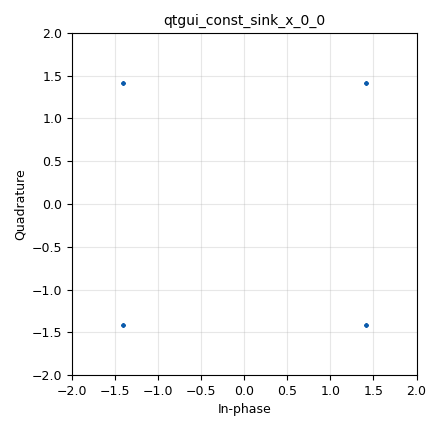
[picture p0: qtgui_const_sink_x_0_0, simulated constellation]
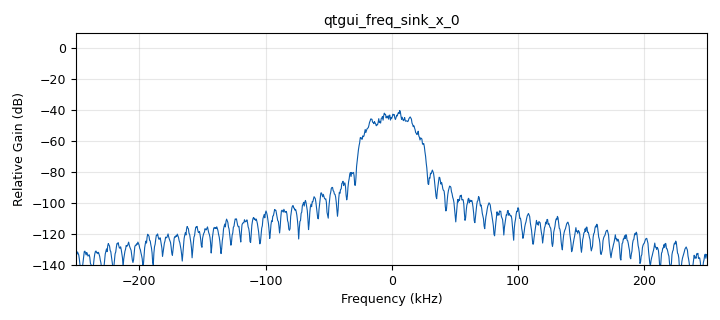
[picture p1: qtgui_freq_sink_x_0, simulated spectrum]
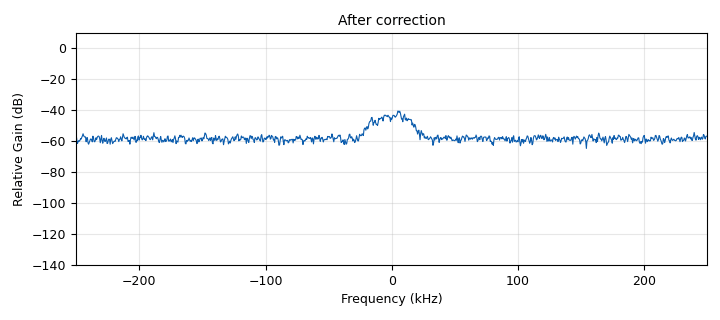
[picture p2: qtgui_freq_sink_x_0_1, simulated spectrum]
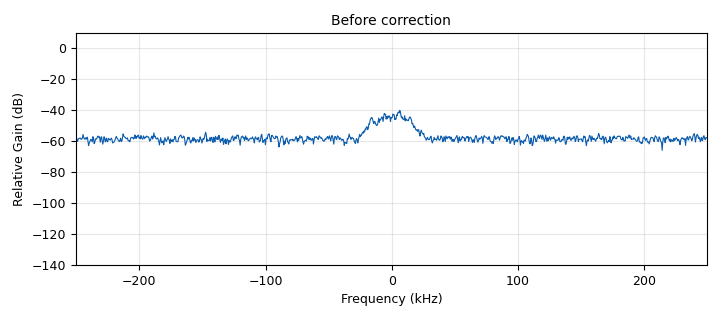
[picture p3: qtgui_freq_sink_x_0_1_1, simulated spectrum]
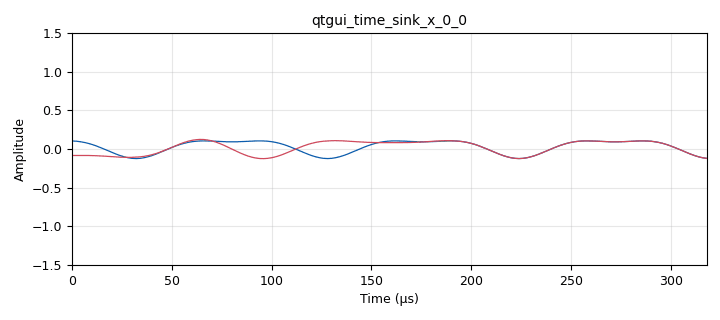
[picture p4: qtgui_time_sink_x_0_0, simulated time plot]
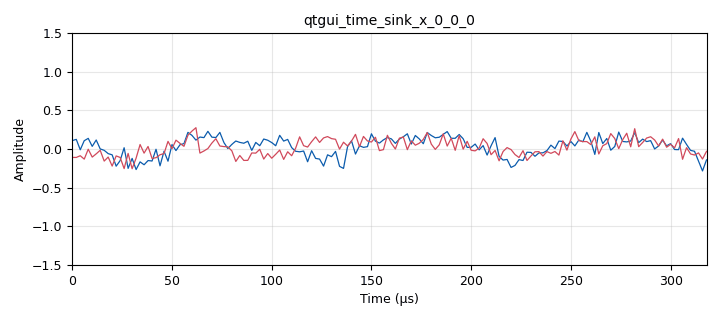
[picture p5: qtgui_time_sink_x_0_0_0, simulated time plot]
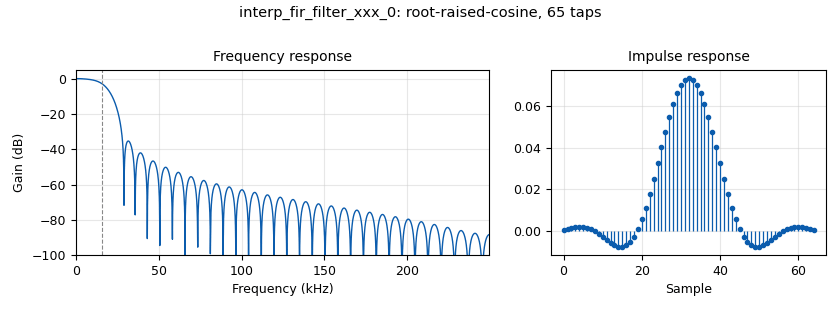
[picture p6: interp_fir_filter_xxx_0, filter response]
options:
  parameters:
    generate_options: qt_gui
    id: transceiver
    output_language: python
    title: Transceiver
  states: {}

blocks:
- name: constellation
  id: variable_constellation
  parameters:
    precision: '8'
    type: dqpsk
  states: {}
- name: frame_len_symbols
  id: variable
  parameters:
    value: int((payload_bytes + 4 + len(preamble_decimal))*8/constellation.bits_per_symbol())
  states: {}
- name: freq_offset_slider
  id: variable_qtgui_range
  parameters:
    gui_hint: 0,1,1,1
    label: frequency offset
    start: '-samp_rate/sps/2'
    step: samp_rate/sps/50
    stop: samp_rate/sps/2
    value: '0'
  states: {}
- name: nfft
  id: variable
  parameters:
    value: int(512)
  states: {}
- name: noise_amplitude_slider
  id: variable_qtgui_range
  parameters:
    gui_hint: 0,3,1,1
    label: noise power
    start: '0'
    step: '0.1'
    stop: '1'
    value: '0.1'
    widget: slider
  states: {}
- name: preamble_binary
  id: variable
  parameters:
    value: '''''.join(["{0:08b}".format(i) for i in preamble_decimal[:4]])'
  states: {}
- name: preamble_decimal
  id: variable
  parameters:
    value: preamble_decimal_prbs
  states: {}
- name: preamble_decimal_prbs
  id: variable
  parameters:
    value: 104, 34, 59, 178, 138, 21, 94, 227, 104, 34, 59, 178, 17, 150, 5, 202, 254, 57, 65, 119, int((payload_bytes+4)/256), (payload_bytes +4) % 256, int((payload_bytes+4)/256), (payload_bytes +4) % 256
  states: {}
- name: preamble_decimal_test
  id: variable
  parameters:
    value: np.random.randint(0, 256, 100)
  states: {}
- name: preamble_symbolindex
  id: variable
  parameters:
    value: '[int(preamble_binary[x:x+constellation.bits_per_symbol()], base=2) for x in range(0, len(preamble_binary), constellation.bits_per_symbol())]'
  states: {}
- name: pulse_shape
  id: variable_rrc_filter_taps
  parameters:
    alpha: rolloff
    gain: '1.0'
    ntaps: 4*sps
    samp_rate: samp_rate
    sym_rate: samp_rate/sps
  states: {}
- name: rolloff
  id: variable
  parameters:
    value: '0.7'
  states: {}
- name: rx_gain_slider
  id: variable_qtgui_range
  parameters:
    gui_hint: 0,2,1,1
    label: RX gain
    start: '0'
    step: '.1'
    stop: '1'
    value: '0.7'
  states: {}
- name: samp_rate
  id: variable
  parameters:
    value: 500e3
  states: {}
- name: tx_gain_slider
  id: variable_qtgui_range
  parameters:
    gui_hint: 0,0,1,1
    label: TX gain
    start: '0'
    step: '0.1'
    stop: '1'
    value: '0.6'
  states: {}
- name: analog_noise_source_x_0
  id: analog_noise_source_x
  parameters:
    amp: noise_amplitude_slider
    noise_type: analog.GR_GAUSSIAN
    seed: '0'
    type: complex
  states: {}
- name: analog_random_source_x_0
  id: analog_random_source_x
  parameters:
    max: '256'
    min: '0'
    num_samps: payload_bytes
    repeat: 'True'
    type: byte
  states: {state: disabled}
- name: analog_sig_source_x_0
  id: analog_sig_source_x
  parameters:
    amp: '1'
    comment: |-
      Artificial frequency offset
      for demonstration purposes
    freq: freq_offset_slider
    offset: '0'
    phase: '0'
    samp_rate: samp_rate
    type: complex
    waveform: analog.GR_COS_WAVE
  states: {}
- name: blocks_add_xx_0
  id: blocks_add_xx
  parameters:
    type: complex
  states: {}
- name: blocks_int_to_float_0
  id: blocks_int_to_float
  parameters:
    scale: '1'
  states: {}
- name: blocks_multiply_xx_0
  id: blocks_multiply_xx
  parameters:
    type: complex
  states: {}
- name: blocks_packed_to_unpacked_xx_0
  id: blocks_packed_to_unpacked_xx
  parameters:
    bits_per_chunk: '1'
    comment: Bytes to bits
    endianness: gr.GR_MSB_FIRST
    type: byte
  states: {}
- name: blocks_repack_bits_bb_0
  id: blocks_repack_bits_bb
  parameters:
    comment: |-
      Group bits to form
      symbol indices
    endianness: gr.GR_MSB_FIRST
    k: '1'
    l: constellation.bits_per_symbol()
  states: {}
- name: blocks_stream_to_tagged_stream_0
  id: blocks_stream_to_tagged_stream
  parameters:
    comment: Packetize payload
    len_tag_key: '"packet_len"'
    packet_len: payload_bytes
    type: byte
  states: {}
- name: blocks_stream_to_tagged_stream_1
  id: blocks_stream_to_tagged_stream
  parameters:
    comment: |-
      Packetize frames after
      frame start detection
    len_tag_key: '"packet_len"'
    packet_len: payload_bytes + 4
    type: byte
  states: {}
- name: blocks_throttle_0
  id: blocks_throttle
  parameters:
    samples_per_second: samp_rate
    type: byte
  states: {}
- name: blocks_uchar_to_float_0
  id: blocks_uchar_to_float
  parameters: {}
  states: {}
- name: blocks_uchar_to_float_0_0
  id: blocks_uchar_to_float
  parameters: {}
  states: {}
- name: blocks_uchar_to_float_0_0_0
  id: blocks_uchar_to_float
  parameters: {}
  states: {}
- name: blocks_uchar_to_float_0_0_0_0
  id: blocks_uchar_to_float
  parameters: {}
  states: {}
- name: blocks_uchar_to_float_0_0_1
  id: blocks_uchar_to_float
  parameters: {}
  states: {}
- name: blocks_unpack_k_bits_bb_0
  id: blocks_unpack_k_bits_bb
  parameters:
    comment: |-
      Recover bits from 
      symbol indices
    k: constellation.bits_per_symbol()
  states: {}
- name: blocks_unpacked_to_packed_xx_0
  id: blocks_unpacked_to_packed_xx
  parameters:
    bits_per_chunk: '1'
    comment: Group bits into bytes
    endianness: gr.GR_MSB_FIRST
    type: byte
  states: {}
- name: blocks_vector_insert_x_0
  id: blocks_vector_insert_x
  parameters:
    comment: Insert synchronization preamble
    offset: '0'
    period: payload_bytes + 4 + len(preamble_decimal)
    type: byte
    vector: preamble_decimal
  states: {}
- name: blocks_vector_insert_x_1
  id: blocks_vector_insert_x
  parameters:
    comment: Insert gap between frames
    offset: int(ifs*frame_len_symbols)
    period: int(frame_len_symbols + ifs*frame_len_symbols)
    type: complex
    vector: np.zeros(int(ifs*frame_len_symbols))
  states: {}
- name: blocks_vector_source_x_0
  id: blocks_vector_source_x
  parameters:
    comment: |-
      Convert text to bytes

      Choose text_de or text_en
    repeat: 'True'
    type: byte
    vector: '[ord(i) for i in text_en]'
  states: {}
- name: digital_chunks_to_symbols_xx_0
  id: digital_chunks_to_symbols_xx
  parameters:
    comment: |-
      Map differentially encoded
      symbol indices to QAM symbols
    dimension: '1'
    in_type: byte
    out_type: complex
    symbol_table: constellation.points()
  states: {}
- name: digital_constellation_decoder_cb_0
  id: digital_constellation_decoder_cb
  parameters:
    comment: |-
      Map QAM symbols back to
      symbol indices
    constellation: constellation
  states: {}
- name: digital_correlate_access_code_xx_ts_0
  id: digital_correlate_access_code_xx_ts
  parameters:
    access_code: '''''.join(["{0:08b}".format(i) for i in preamble_decimal[16:20]])'
    comment: |-
      Search preamble bit sequence
      to find frame start
    tagname: '"frame_start"'
    threshold: '5'
    type: byte
  states: {}
- name: digital_costas_loop_cc_0
  id: digital_costas_loop_cc
  parameters:
    comment: |-
      Remove remaining phase and
      frequency offset (ambiguous)
    order: len(constellation.points())
    w: 2*np.pi/1000
  states: {}
- name: digital_crc32_bb_0
  id: digital_crc32_bb
  parameters:
    check: 'False'
    comment: Append 4-byte checksum
    lengthtagname: '"packet_len"'
    packed: 'True'
  states: {}
- name: digital_crc32_bb_0_0
  id: digital_crc32_bb
  parameters:
    check: 'True'
    comment: Check CRC of payload
    lengthtagname: '"packet_len"'
    packed: 'True'
  states: {}
- name: digital_diff_decoder_bb_0
  id: digital_diff_decoder_bb
  parameters:
    coding: digital.DIFF_DIFFERENTIAL
    modulus: len(constellation.points())
  states: {}
- name: digital_diff_encoder_bb_0
  id: digital_diff_encoder_bb
  parameters:
    coding: digital.DIFF_DIFFERENTIAL
    modulus: len(constellation.points())
  states: {}
- name: digital_fll_band_edge_cc_0
  id: digital_fll_band_edge_cc
  parameters:
    comment: |-
      Frequency synchronization using
      Frequency Locked Loop
    filter_size: len(pulse_shape)
    rolloff: rolloff
    samps_per_sym: sps
    type: cc
    w: 2*np.pi/1000
  states: {}
- name: ifs
  id: parameter
  parameters:
    label: inter frame space
    type: eng_float
    value: '0'
  states: {}
- name: import_0
  id: import
  parameters:
    imports: from gnuradio import filter
  states: {}
- name: import_np
  id: import
  parameters:
    imports: import numpy as np
  states: {}
- name: interp_fir_filter_xxx_0
  id: interp_fir_filter_xxx
  parameters:
    comment: Pulse shaping (RRC)
    interp: sps
    taps: pulse_shape
    type: ccf
  states: {}
- name: interp_fir_filter_xxx_1
  id: interp_fir_filter_xxx
  parameters:
    comment: Matched filter
    interp: '1'
    taps: pulse_shape
    type: ccf
  states: {}
- name: payload_bytes
  id: parameter
  parameters:
    type: intx
    value: '128'
  states: {}
- name: qtgui_const_sink_x_0
  id: qtgui_const_sink_x
  parameters:
    alpha1: '0.5'
    gui_hint: tab@3:0,0,1,1
    size: '128'
    type: complex
  states: {}
- name: qtgui_const_sink_x_0_0
  id: qtgui_const_sink_x
  parameters:
    alpha1: '0.5'
    gui_hint: tab@0:0,2,1,1
    size: '128'
    type: complex
  states: {}
- name: qtgui_const_sink_x_1
  id: qtgui_const_sink_x
  parameters:
    alpha1: '0.5'
    gui_hint: tab@4:0,0,1,1
    size: '256'
    type: complex
  states: {}
- name: qtgui_freq_sink_x_0
  id: qtgui_freq_sink_x
  parameters:
    average: '0.1'
    bw: samp_rate
    fc: '0'
    fftsize: '1024'
    gui_hint: tab@0:0,1,1,1
    showports: 'True'
    type: complex
  states: {}
- name: qtgui_freq_sink_x_0_1
  id: qtgui_freq_sink_x
  parameters:
    average: '0.1'
    bw: samp_rate
    fc: '0'
    fftsize: '1024'
    gui_hint: tab@2:0,1,1,1
    name: '"After correction"'
    showports: 'True'
    type: complex
  states: {}
- name: qtgui_freq_sink_x_0_1_0
  id: qtgui_freq_sink_x
  parameters:
    average: '0.1'
    bw: nfft
    fc: '0'
    fftsize: nfft
    gui_hint: tab@3:0,1,1,1
    showports: 'True'
    type: float
  states: {}
- name: qtgui_freq_sink_x_0_1_1
  id: qtgui_freq_sink_x
  parameters:
    average: '0.1'
    bw: samp_rate
    fc: '0'
    fftsize: '1024'
    gui_hint: tab@2:0,0,1,1
    name: '"Before correction"'
    showports: 'True'
    type: complex
  states: {}
- name: qtgui_time_sink_x_0
  id: qtgui_time_sink_x
  parameters:
    gui_hint: tab@5:2,0,1,2
    label1: ''
    name: '"RX bits out"'
    size: (payload_bytes+4)*8
    srate: '1'
    tr_tag: ''
    type: float
    ymax: '2'
  states: {}
- name: qtgui_time_sink_x_0_0
  id: qtgui_time_sink_x
  parameters:
    gui_hint: tab@0:0,0,1,1
    label1: ''
    label2: ''
    legend: 'False'
    size: sps*10
    srate: samp_rate
    tr_level: '1.0'
    type: complex
    ymax: '1.5'
    ymin: '-1.5'
  states: {}
- name: qtgui_time_sink_x_0_0_0
  id: qtgui_time_sink_x
  parameters:
    gui_hint: tab@1:0,0,1,1
    label1: ''
    label2: ''
    legend: 'False'
    size: sps*10
    srate: samp_rate
    tr_level: '1.0'
    type: complex
    ymax: '1.5'
    ymin: '-1.5'
  states: {}
- name: qtgui_time_sink_x_0_1
  id: qtgui_time_sink_x
  parameters:
    gui_hint: tab@5:0,1,1,1
    label1: ''
    name: '"RX bits in"'
    size: (frame_len_symbols+int(ifs*frame_len_symbols))*constellation.bits_per_symbol()
    srate: '1'
    tr_tag: '"frame_start"'
    type: float
    ymax: '2'
  states: {}
- name: qtgui_time_sink_x_0_1_0
  id: qtgui_time_sink_x
  parameters:
    gui_hint: tab@5:0,0,1,1
    label1: ''
    name: '"TX bits"'
    size: frame_len_symbols*constellation.bits_per_symbol()
    srate: '1'
    tr_tag: '"frame_start"'
    type: float
    ymax: '2'
  states: {}
- name: qtgui_time_sink_x_0_1_0_0
  id: qtgui_time_sink_x
  parameters:
    gui_hint: tab@5:1,0,1,1
    label1: ''
    name: '"TX symbols"'
    size: frame_len_symbols
    srate: '1'
    tr_tag: '"frame_start"'
    type: float
    ymax: len(constellation.points())+1
  states: {}
- name: qtgui_time_sink_x_0_1_1
  id: qtgui_time_sink_x
  parameters:
    gui_hint: tab@5:1,1,1,1
    label1: ''
    name: '"RX symbols in"'
    size: (frame_len_symbols+int(ifs*frame_len_symbols))
    srate: '1'
    tr_tag: '"frame_start"'
    type: float
    ymax: len(constellation.points()) + 1
  states: {}
- name: qtgui_time_sink_x_1
  id: qtgui_time_sink_x
  parameters:
    gui_hint: tab@3:1,1,1,1
    label1: ''
    name: '"Phase of 1/T bin"'
    size: '10000'
    srate: samp_rate/nfft
    type: float
    ymax: 2*np.pi
    ymin: '-2*np.pi'
  states: {}
- name: qtgui_time_sink_x_1_0
  id: qtgui_time_sink_x
  parameters:
    gui_hint: tab@3:1,0,1,1
    label1: ''
    name: '"Index"'
    size: '10000'
    srate: samp_rate/nfft
    type: float
    ymax: sps
  states: {}
- name: qtgui_waterfall_sink_x_0
  id: qtgui_waterfall_sink_x
  parameters:
    bw: samp_rate
    fc: '0'
    fftsize: '1024'
    gui_hint: tab@1:0,1,1,1
    showports: 'True'
    type: complex
  states: {}
- name: sps
  id: parameter
  parameters:
    label: samples per symbol
    type: intx
    value: '16'
  states: {}
- name: square_timing_recovery_0
  id: square_timing_recovery
  parameters:
    comment: |-
      Symbol timing recovery using
      the Square Timing Recovery 
      algorithm
    nfft: nfft
    sps: sps
  states: {}
- name: tab
  id: qtgui_tab_widget
  parameters:
    gui_hint: 1,0,1,3
    label0: TX
    label1: RX
    label2: Frequency Synchronization
    label3: Timing Synchronization
    label4: Phase Synchronization
    label5: Data
    num_tabs: '6'
  states: {}
- name: text_de
  id: parameter
  parameters:
    label: text
    value: '"Nachrichtentechnik macht mir total viel  Spaß!\nAm liebsten würde ich am CEL meine Abschlussarbeit schreiben!"'
  states: {}
- name: text_en
  id: parameter
  parameters:
    label: text
    value: '"Communication engineering is so faszinating! I''d  love to write my thesis at CEL.\nAnd they also have the coolest phd students ;)\n"'
  states: {}
- name: virtual_sink_0
  id: virtual_sink
  parameters:
    comment: |-
      Conncect to virtual source 
      with the same Stream ID
    stream_id: framer
  states: {}
- name: virtual_sink_1
  id: virtual_sink
  parameters:
    stream_id: channel
  states: {}
- name: virtual_sink_2
  id: virtual_sink
  parameters:
    stream_id: freqsync
  states: {}
- name: virtual_sink_2_0
  id: virtual_sink
  parameters:
    stream_id: timesync
  states: {}
- name: virtual_sink_4
  id: virtual_sink
  parameters:
    stream_id: demod
  states: {}
- name: virtual_source_0
  id: virtual_source
  parameters:
    stream_id: framer
  states: {}
- name: virtual_source_1
  id: virtual_source
  parameters:
    stream_id: channel
  states: {}
- name: virtual_source_2
  id: virtual_source
  parameters:
    stream_id: freqsync
  states: {}
- name: virtual_source_3
  id: virtual_source
  parameters:
    stream_id: timesync
  states: {}
- name: virtual_source_4
  id: virtual_source
  parameters:
    stream_id: demod
  states: {}
- name: write_to_console
  id: epy_block
  parameters:
    _source_code: "\"\"\"\nEmbedded Python Blocks:\n\nEach time this file is saved, GRC will instantiate the first class it finds\nto get ports and parameters of your block. The arguments to __init__  will\nbe the parameters. All of them are required to have default values!\n\"\"\"\n\nimport numpy as np\nfrom gnuradio import gr\n\n\nclass blk(gr.sync_block):  # other base classes are basic_block, decim_block, interp_block\n    \"\"\"Embedded Python Block example - a simple multiply const\"\"\"\n\n    def __init__(self):  # only default arguments here\n        \"\"\"arguments to this function show up as parameters in GRC\"\"\"\n        gr.sync_block.__init__(\n            self,\n            name='Print to console',   # will show up in GRC\n            in_sig=[np.uint8], out_sig=None,\n        )\n\n\n    def work(self, input_items, output_items):\n            \"\"\"example: multiply with constant\"\"\"\n            print(''.join(chr(i) for i in input_items[0]))\n            return len(input_items[0])\n\n"
  states: {}

connections:
- [analog_noise_source_x_0, '0', blocks_add_xx_0, '0']
- [analog_random_source_x_0, '0', blocks_stream_to_tagged_stream_0, '0']
- [analog_sig_source_x_0, '0', blocks_multiply_xx_0, '0']
- [blocks_add_xx_0, '0', virtual_sink_1, '0']
- [blocks_int_to_float_0, '0', qtgui_time_sink_x_1_0, '0']
- [blocks_multiply_xx_0, '0', blocks_add_xx_0, '1']
- [blocks_packed_to_unpacked_xx_0, '0', blocks_throttle_0, '0']
- [blocks_packed_to_unpacked_xx_0, '0', blocks_uchar_to_float_0_0_0, '0']
- [blocks_repack_bits_bb_0, '0', blocks_uchar_to_float_0_0_0_0, '0']
- [blocks_repack_bits_bb_0, '0', digital_diff_encoder_bb_0, '0']
- [blocks_stream_to_tagged_stream_0, '0', digital_crc32_bb_0, '0']
- [blocks_stream_to_tagged_stream_1, '0', digital_crc32_bb_0_0, '0']
- [blocks_throttle_0, '0', virtual_sink_0, '0']
- [blocks_uchar_to_float_0, '0', qtgui_time_sink_x_0, '0']
- [blocks_uchar_to_float_0_0, '0', qtgui_time_sink_x_0_1, '0']
- [blocks_uchar_to_float_0_0_0, '0', qtgui_time_sink_x_0_1_0, '0']
- [blocks_uchar_to_float_0_0_0_0, '0', qtgui_time_sink_x_0_1_0_0, '0']
- [blocks_uchar_to_float_0_0_1, '0', qtgui_time_sink_x_0_1_1, '0']
- [blocks_unpack_k_bits_bb_0, '0', blocks_uchar_to_float_0_0, '0']
- [blocks_unpack_k_bits_bb_0, '0', digital_correlate_access_code_xx_ts_0, '0']
- [blocks_unpacked_to_packed_xx_0, '0', blocks_stream_to_tagged_stream_1, '0']
- [blocks_vector_insert_x_0, '0', blocks_packed_to_unpacked_xx_0, '0']
- [blocks_vector_insert_x_1, '0', interp_fir_filter_xxx_0, '0']
- [blocks_vector_source_x_0, '0', blocks_stream_to_tagged_stream_0, '0']
- [digital_chunks_to_symbols_xx_0, '0', blocks_vector_insert_x_1, '0']
- [digital_chunks_to_symbols_xx_0, '0', qtgui_const_sink_x_0_0, '0']
- [digital_constellation_decoder_cb_0, '0', digital_diff_decoder_bb_0, '0']
- [digital_correlate_access_code_xx_ts_0, '0', blocks_uchar_to_float_0, '0']
- [digital_correlate_access_code_xx_ts_0, '0', blocks_unpacked_to_packed_xx_0, '0']
- [digital_costas_loop_cc_0, '0', qtgui_const_sink_x_1, '0']
- [digital_costas_loop_cc_0, '0', virtual_sink_4, '0']
- [digital_crc32_bb_0, '0', blocks_vector_insert_x_0, '0']
- [digital_crc32_bb_0_0, '0', write_to_console, '0']
- [digital_diff_decoder_bb_0, '0', blocks_uchar_to_float_0_0_1, '0']
- [digital_diff_decoder_bb_0, '0', blocks_unpack_k_bits_bb_0, '0']
- [digital_diff_encoder_bb_0, '0', digital_chunks_to_symbols_xx_0, '0']
- [digital_fll_band_edge_cc_0, '0', qtgui_freq_sink_x_0_1, '0']
- [digital_fll_band_edge_cc_0, '0', virtual_sink_2, '0']
- [interp_fir_filter_xxx_0, '0', blocks_multiply_xx_0, '1']
- [interp_fir_filter_xxx_0, '0', qtgui_freq_sink_x_0, '0']
- [interp_fir_filter_xxx_0, '0', qtgui_time_sink_x_0_0, '0']
- [interp_fir_filter_xxx_1, '0', square_timing_recovery_0, '0']
- [square_timing_recovery_0, '0', qtgui_const_sink_x_0, '0']
- [square_timing_recovery_0, '0', virtual_sink_2_0, '0']
- [square_timing_recovery_0, '1', qtgui_freq_sink_x_0_1_0, '0']
- [square_timing_recovery_0, '2', blocks_int_to_float_0, '0']
- [square_timing_recovery_0, '3', qtgui_time_sink_x_1, '0']
- [virtual_source_0, '0', blocks_repack_bits_bb_0, '0']
- [virtual_source_1, '0', digital_fll_band_edge_cc_0, '0']
- [virtual_source_1, '0', qtgui_freq_sink_x_0_1_1, '0']
- [virtual_source_1, '0', qtgui_time_sink_x_0_0_0, '0']
- [virtual_source_1, '0', qtgui_waterfall_sink_x_0, '0']
- [virtual_source_2, '0', interp_fir_filter_xxx_1, '0']
- [virtual_source_3, '0', digital_costas_loop_cc_0, '0']
- [virtual_source_4, '0', digital_constellation_decoder_cb_0, '0']

metadata:
  file_format: 1
